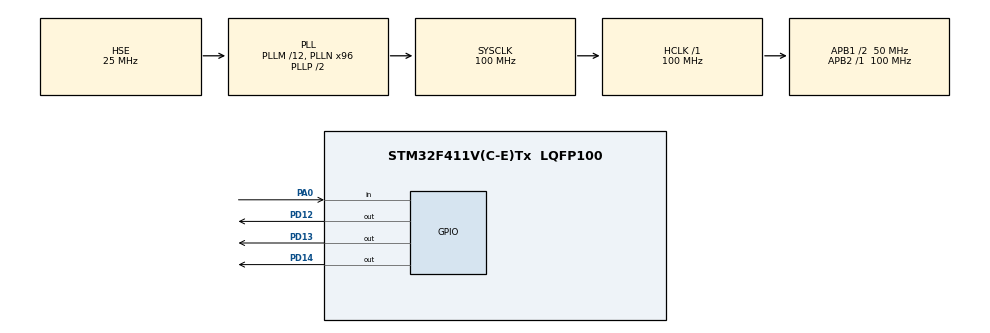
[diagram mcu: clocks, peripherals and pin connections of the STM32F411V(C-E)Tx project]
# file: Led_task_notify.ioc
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FREERTOS.Tasks01=defaultTask,0,128,StartDefaultTask,Default,NULL,Dynamic,NULL,NULL
Mcu.Family=STM32F4
Mcu.Name=STM32F411V(C-E)Tx
Mcu.Package=LQFP100
NVIC.PriorityGroup=NVIC_PRIORITYGROUP_4
NVIC.TIM3_IRQn=true\:15\:0\:false\:false\:true\:false\:false\:true\:true
NVIC.TimeBase=TIM3_IRQn
NVIC.TimeBaseIP=TIM3
PA0-WKUP.Signal=GPIO_Input
PA13.Mode=Serial_Wire
PA13.Signal=SYS_JTMS-SWDIO
PA14.Mode=Serial_Wire
PA14.Signal=SYS_JTCK-SWCLK
PD12.Signal=GPIO_Output
PD13.Signal=GPIO_Output
PD14.Signal=GPIO_Output
PH0\ -\ OSC_IN.Mode=HSE-External-Oscillator
PH0\ -\ OSC_IN.Signal=RCC_OSC_IN
PH1\ -\ OSC_OUT.Mode=HSE-External-Oscillator
PH1\ -\ OSC_OUT.Signal=RCC_OSC_OUT
ProjectManager.HeapSize=0x200
ProjectManager.StackSize=0x400
ProjectManager.TargetToolchain=STM32CubeIDE
RCC.48MHZClocksFreq_Value=50000000
RCC.AHBFreq_Value=100000000
RCC.APB1CLKDivider=RCC_HCLK_DIV2
RCC.APB1Freq_Value=50000000
RCC.APB1TimFreq_Value=100000000
RCC.APB2Freq_Value=100000000
RCC.APB2TimFreq_Value=100000000
RCC.CortexFreq_Value=100000000
RCC.HCLKFreq_Value=100000000
RCC.HSE_VALUE=25000000
RCC.HSI_VALUE=16000000
RCC.LSE_VALUE=32768
RCC.PLLM=12
RCC.PLLN=96
RCC.PLLSourceVirtual=RCC_PLLSOURCE_HSE
RCC.SYSCLKFreq_VALUE=100000000
RCC.SYSCLKSource=RCC_SYSCLKSOURCE_PLLCLK
RCC.VCOOutputFreq_Value=200000000
VP_FREERTOS_VS_CMSIS_V1.Mode=CMSIS_V1
VP_SYS_VS_tim3.Mode=TIM3
board=custom

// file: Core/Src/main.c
/* USER CODE BEGIN Header */
/**
 ******************************************************************************
 * @file           : main.c
 * @brief          : Main program body
 ******************************************************************************
 * @attention
 *
 * Copyright (c) 2023 STMicroelectronics.
 * All rights reserved.
 *
 * This software is licensed under terms that can be found in the LICENSE file
 * in the root directory of this software component.
 * If no LICENSE file comes with this software, it is provided AS-IS.
 *
 ******************************************************************************
 */
/* USER CODE END Header */
#include "main.h"
#include "cmsis_os.h"

// osThreadId defaultTaskHandle;
/* USER CODE BEGIN PV */
xTaskHandle led_1_handle;
xTaskHandle led_2_handle;
xTaskHandle led_3_handle;
xTaskHandle led_rs_handle;
xTaskHandle button_handle;
xTaskHandle volatile next_task_handle = NULL;
/* USER CODE END PV */

void SystemClock_Config(void);
static void MX_GPIO_Init(void);
void StartDefaultTask(void const *argument);

/* USER CODE BEGIN PFP */
void led_1_handler(void);
void led_2_handler(void);
void led_3_handler(void);
void led_rs_handler(void);
void button_handler(void);
/* USER CODE END PFP */

int main(void)
{

  /* MCU Configuration--------------------------------------------------------*/

  /* Reset of all peripherals, Initializes the Flash interface and the Systick. */
  HAL_Init();

  /* Configure the system clock */
  SystemClock_Config();

  /* Initialize all configured peripherals */
  MX_GPIO_Init();

  /* Create the thread(s) */
  /* definition and creation of defaultTask */
  //  osThreadDef(defaultTask, StartDefaultTask, osPriorityNormal, 0, 128);
  //  defaultTaskHandle = osThreadCreate(osThread(defaultTask), NULL);

  /* USER CODE BEGIN RTOS_THREADS */
  /* add threads, ... */
  BaseType_t status;
  status = xTaskCreate(led_1_handler, "Task led 1", 100, NULL, 1, &led_1_handle);
  configASSERT(status == pdPASS);
  status = xTaskCreate(led_2_handler, "Task led 2", 100, NULL, 2, &led_2_handle);
  configASSERT(status == pdPASS);
  status = xTaskCreate(led_3_handler, "Task led 3", 100, NULL, 3, &led_3_handle);
  configASSERT(status == pdPASS);
  status = xTaskCreate(led_rs_handler, "Task led reset", 100, NULL, 1, &led_rs_handle);
  configASSERT(status == pdPASS);
  status = xTaskCreate(button_handler, "Task button", 100, NULL, 4, &button_handle);
  configASSERT(status == pdPASS);

  /* USER CODE END RTOS_THREADS */

  /* Start scheduler */
  osKernelStart();
  /* We should never get here as control is now taken by the scheduler */
  /* Infinite loop */
  while (1)
  {

  }
}

void SystemClock_Config(void)
{
  RCC_OscInitTypeDef RCC_OscInitStruct = {0};
  RCC_ClkInitTypeDef RCC_ClkInitStruct = {0};

  /** Configure the main internal regulator output voltage
   */
  __HAL_RCC_PWR_CLK_ENABLE();
  __HAL_PWR_VOLTAGESCALING_CONFIG(PWR_REGULATOR_VOLTAGE_SCALE1);

  /** Initializes the RCC Oscillators according to the specified parameters
   * in the RCC_OscInitTypeDef structure.
   */
  RCC_OscInitStruct.OscillatorType = RCC_OSCILLATORTYPE_HSE;
  RCC_OscInitStruct.HSEState = RCC_HSE_ON;
  RCC_OscInitStruct.PLL.PLLState = RCC_PLL_ON;
  RCC_OscInitStruct.PLL.PLLSource = RCC_PLLSOURCE_HSE;
  RCC_OscInitStruct.PLL.PLLM = 12;
  RCC_OscInitStruct.PLL.PLLN = 96;
  RCC_OscInitStruct.PLL.PLLP = RCC_PLLP_DIV2;
  RCC_OscInitStruct.PLL.PLLQ = 4;
  if (HAL_RCC_OscConfig(&RCC_OscInitStruct) != HAL_OK)
  {
    Error_Handler();
  }

  /** Initializes the CPU, AHB and APB buses clocks
   */
  RCC_ClkInitStruct.ClockType = RCC_CLOCKTYPE_HCLK | RCC_CLOCKTYPE_SYSCLK | RCC_CLOCKTYPE_PCLK1 | RCC_CLOCKTYPE_PCLK2;
  RCC_ClkInitStruct.SYSCLKSource = RCC_SYSCLKSOURCE_PLLCLK;
  RCC_ClkInitStruct.AHBCLKDivider = RCC_SYSCLK_DIV1;
  RCC_ClkInitStruct.APB1CLKDivider = RCC_HCLK_DIV2;
  RCC_ClkInitStruct.APB2CLKDivider = RCC_HCLK_DIV1;

  if (HAL_RCC_ClockConfig(&RCC_ClkInitStruct, FLASH_LATENCY_3) != HAL_OK)
  {
    Error_Handler();
  }
}

static void MX_GPIO_Init(void)
{
  GPIO_InitTypeDef GPIO_InitStruct = {0};

  /* GPIO Ports Clock Enable */
  __HAL_RCC_GPIOH_CLK_ENABLE();
  __HAL_RCC_GPIOA_CLK_ENABLE();
  __HAL_RCC_GPIOD_CLK_ENABLE();

  /*Configure GPIO pin Output Level */
  HAL_GPIO_WritePin(GPIOD, GPIO_PIN_12 | GPIO_PIN_13 | GPIO_PIN_14, GPIO_PIN_RESET);

  /*Configure GPIO pin : PA0 */
  GPIO_InitStruct.Pin = GPIO_PIN_0;
  GPIO_InitStruct.Mode = GPIO_MODE_INPUT;
  GPIO_InitStruct.Pull = GPIO_NOPULL;
  HAL_GPIO_Init(GPIOA, &GPIO_InitStruct);

  /*Configure GPIO pins : PD12 PD13 PD14 */
  GPIO_InitStruct.Pin = GPIO_PIN_12 | GPIO_PIN_13 | GPIO_PIN_14;
  GPIO_InitStruct.Mode = GPIO_MODE_OUTPUT_PP;
  GPIO_InitStruct.Pull = GPIO_NOPULL;
  GPIO_InitStruct.Speed = GPIO_SPEED_FREQ_LOW;
  HAL_GPIO_Init(GPIOD, &GPIO_InitStruct);

}

/* USER CODE BEGIN 4 */
void led_1_handler(void)
{
  BaseType_t status;
  while (1)
  {
    HAL_GPIO_TogglePin(GPIOD, GPIO_PIN_12);
    status = xTaskNotifyWait(0, 0, NULL, pdMS_TO_TICKS(800));
    if (status == pdTRUE)
    {
      vTaskSuspendAll();
      next_task_handle = led_2_handle;
      xTaskResumeAll();
      HAL_GPIO_WritePin(GPIOD, GPIO_PIN_12, GPIO_PIN_SET);
      vTaskSuspend(NULL);
    }
  }
}
void led_2_handler(void)
{
  BaseType_t status;
  while (1)
  {
    HAL_GPIO_TogglePin(GPIOD, GPIO_PIN_13);
    status = xTaskNotifyWait(0, 0, NULL, pdMS_TO_TICKS(600));
    if (status == pdTRUE)
    {
      vTaskSuspendAll();
      next_task_handle = led_3_handle;
      xTaskResumeAll();
      HAL_GPIO_WritePin(GPIOD, GPIO_PIN_13, GPIO_PIN_SET);
      vTaskSuspend(NULL);
    }
  }
}
void led_3_handler(void)
{
  BaseType_t status;
  while (1)
  {
    HAL_GPIO_TogglePin(GPIOD, GPIO_PIN_14);
    status = xTaskNotifyWait(0, 0, NULL, pdMS_TO_TICKS(400));
    if (status == pdTRUE)
    {
      vTaskSuspendAll();
      next_task_handle = led_rs_handle;
      xTaskResumeAll();
      HAL_GPIO_WritePin(GPIOD, GPIO_PIN_14, GPIO_PIN_SET);
      vTaskResume(led_rs_handle);
      vTaskSuspend(NULL);
    }
  }
}
void led_rs_handler(void)
{
  BaseType_t status;
  while (1)
  {
    status = xTaskNotifyWait(0, 0, NULL, pdMS_TO_TICKS(1000));
    if (status == pdTRUE)
    {
      vTaskSuspendAll();
      next_task_handle = led_1_handle;
      xTaskResumeAll();
      vTaskResume(led_1_handle);
      vTaskResume(led_2_handle);
      vTaskResume(led_3_handle);
      vTaskSuspend(NULL);
    }
  }
}
void button_handler(void)
{
  uint8_t cur_sta = 0;
  uint8_t pre_sta = 0;
  next_task_handle = led_1_handle;
  vTaskSuspend(led_rs_handle);
  while (1)
  {
    cur_sta = HAL_GPIO_ReadPin(GPIOA, GPIO_PIN_0);
    if (cur_sta)
    {
      if (!pre_sta)
      {
        xTaskNotify(next_task_handle, 0, eNoAction);
      }
    }
    pre_sta = cur_sta;
    vTaskDelay(pdMS_TO_TICKS(10));
  }
}
/* USER CODE END 4 */

// void StartDefaultTask(void const * argument)
//{
//   /* USER CODE BEGIN 5 */
//   /* Infinite loop */
//   for(;;)
//   {
//     osDelay(1);
//   }
//   /* USER CODE END 5 */
// }

void HAL_TIM_PeriodElapsedCallback(TIM_HandleTypeDef *htim)
{
  if (htim->Instance == TIM3)
  {
    HAL_IncTick();
  }
}

void Error_Handler(void)
{
  __disable_irq();
  while (1)
  {
  }
}
